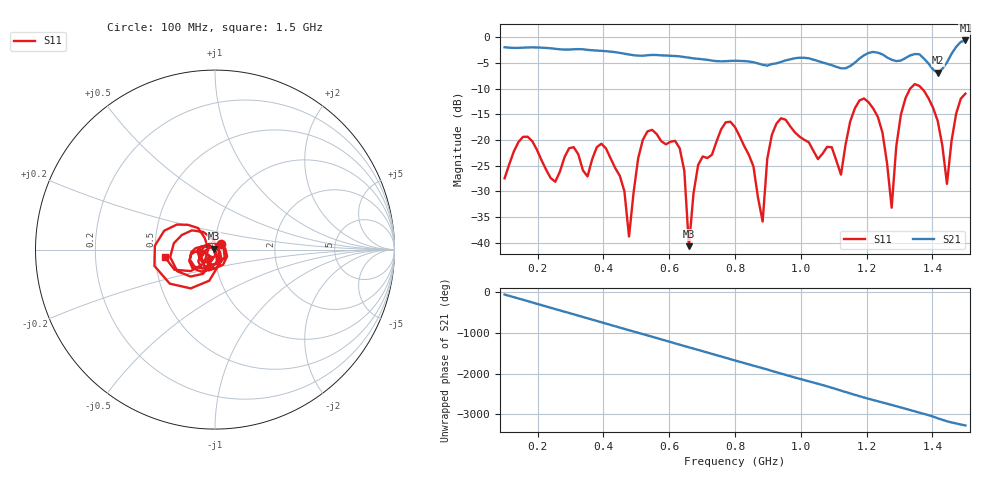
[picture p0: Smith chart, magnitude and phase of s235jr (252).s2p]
! NanoVNA-App
! Date: 2025-09-25 15:06:07
! Start: 100MHz Stop: 1,5GHz Points: 101
! S-Parameter data: F S11 S21 S12 S22
# Hz S RI R 50
!  Frequency  S11_Real  S11_Imag  S21_Real  S21_Imag  S12_Real  S12_Imag  S22_Real  S22_Imag
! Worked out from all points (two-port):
!   101 points, 100 MHz to 1.5 GHz, reference 50 ohm
!   highest |S21| = -0.64 dB at 1.5 GHz (marker M1); lowest = -6.9 dB at 1.416 GHz (marker M2)
!   |S21| within 3 dB of the highest: start of sweep to 608.1 MHz; 1.19 GHz to 1.255 GHz (65.25 MHz wide, 5.34 % of centre) (the widest 2 of 4)
!   lowest |S11| = -40.7 dB at 660 MHz (marker M3), VSWR 1.02, Z = 49.2 + j0.523 ohm
!   |S11| at or under -10 dB: start of sweep to 1.332 GHz; 1.368 GHz to end of sweep
!   S12 and S22 are empty: the file has one direction only
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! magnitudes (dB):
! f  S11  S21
! 100 MHz  -27.5  -2.0
! 156 MHz  -19.4  -2.0
! 338 MHz  -25.9  -2.4
! 408 MHz  -21.7  -2.7
! 478 MHz  -38.8  -3.4
! 520 MHz  -20.0  -3.6
! 576 MHz  -20.2  -3.5
! 632 MHz  -21.6  -3.7
! 660 MHz  -40.7  -4.0
! 688 MHz  -24.9  -4.2
! 800 MHz  -17.5  -4.6
! 884 MHz  -35.9  -5.4
! 926 MHz  -16.8  -5.1
! 1.038 GHz  -22.1  -4.4
! 1.122 GHz  -26.8  -6.1
! 1.192 GHz  -11.9  -3.5
! 1.248 GHz  -18.6  -3.3
! 1.276 GHz  -33.2  -4.4
! 1.332 GHz  -10.0  -3.6
! 1.416 GHz  -16.3  -6.9
! 1.444 GHz  -28.6  -4.9
! 1.5 GHz  -11.0  -0.6
